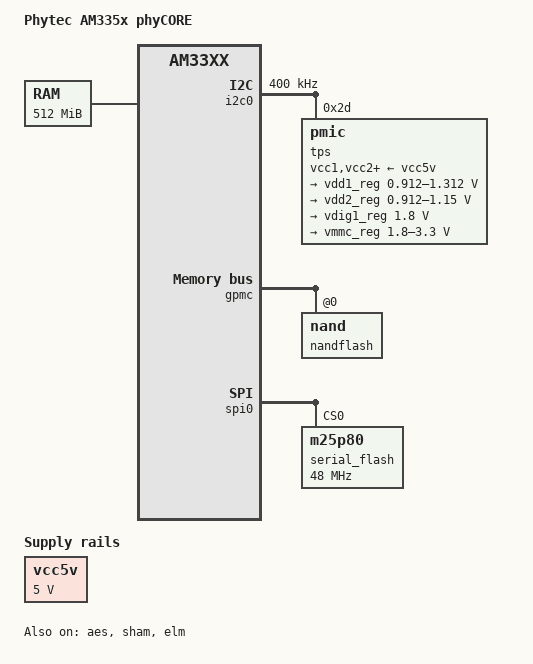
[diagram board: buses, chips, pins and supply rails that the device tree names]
/*
 * Copyright (C) 2014 Teresa Gámez <t.gamez@phytec.de> Phytec Messtechnik GmbH
 *
 * This program is free software; you can redistribute it and/or modify
 * it under the terms of the GNU General Public License version 2 as
 * published by the Free Software Foundation.
 */

#include "am33xx.dtsi"

/ {
	model = "Phytec AM335x phyCORE";
	compatible = "phytec,am335x-phycore-som", "ti,am33xx";

	aliases {
		rtc0 = &i2c_rtc;
		rtc1 = &rtc;
	};

	cpus {
		cpu@0 {
			cpu0-supply = <&vdd1_reg>;
		};
	};

	/* This is a dummy node. Will be set by a bootloader */
	memory {
		device_type = "memory";
		reg = <0x80000000 0x20000000>; /* 512 MB */
	};

	vcc5v: fixedregulator@0 {
		compatible = "regulator-fixed";
	};
};

/* Crypto Module */
&aes {
	status = "okay";
};

&sham {
	status = "okay";
};

/* Ethernet */
&am33xx_pinmux {
	ethernet0_pins: pinmux_ethernet0 {
		pinctrl-single,pins = <
			0x10c (PIN_INPUT_PULLDOWN | MUX_MODE1)	/* mii1_crs.rmii1_crs_dv */
			0x110 (PIN_INPUT_PULLDOWN | MUX_MODE1)	/* mii1_rxerr.rmii1_rxerr */
			0x114 (PIN_OUTPUT | MUX_MODE1)		/* mii1_txen.rmii1_txen */
			0x124 (PIN_OUTPUT | MUX_MODE1)		/* mii1_txd1.rmii1_txd1 */
			0x128 (PIN_OUTPUT | MUX_MODE1)		/* mii1_txd0.rmii1_txd0 */
			0x13c (PIN_INPUT_PULLDOWN | MUX_MODE1)	/* mii1_rxd1.rmii1_rxd1 */
			0x140 (PIN_INPUT_PULLDOWN | MUX_MODE1)	/* mii1_rxd0.rmii1_rxd0 */
			0x144 (PIN_INPUT_PULLDOWN | MUX_MODE0)	/* rmii1_refclk.rmii1_refclk */
		>;
	};

	mdio_pins: pinmux_mdio {
		pinctrl-single,pins = <
			/* MDIO */
			0x148 (PIN_INPUT_PULLUP | SLEWCTRL_FAST | MUX_MODE0)	/* mdio_data.mdio_data */
			0x14c (PIN_OUTPUT_PULLUP | MUX_MODE0)			/* mdio_clk.mdio_clk */
		>;
	};
};

&cpsw_emac0 {
	phy_id = <&davinci_mdio>, <0>;
	phy-mode = "rmii";
	dual_emac_res_vlan = <1>;
	status = "disabled";
};

&cpsw_emac1 {
	status = "disabled";
};

&davinci_mdio {
	pinctrl-names = "default";
	pinctrl-0 = <&mdio_pins>;
	status = "disabled";
};

&mac {
	slaves = <1>;
	pinctrl-names = "default";
	pinctrl-0 = <&ethernet0_pins>;
};

&phy_sel {
	rmii-clock-ext;
};

/* I2C Busses */
&am33xx_pinmux {
	i2c0_pins: pinmux_i2c0 {
		pinctrl-single,pins = <
			0x188 (PIN_INPUT_PULLUP | MUX_MODE0)	/* i2c0_sda.i2c0_sda */
			0x18c (PIN_INPUT_PULLUP | MUX_MODE0)	/* i2c0_scl.i2c0_scl */
		>;
	};
};

&i2c0 {
	pinctrl-names = "default";
	pinctrl-0 = <&i2c0_pins>;
	clock-frequency = <400000>;
	status = "okay";

	tps: pmic@2d {
		reg = <0x2d>;
	};

	i2c_eeprom: eeprom@52 {
		compatible = "at,24c32";
		pagesize = <32>;
		reg = <0x52>;
		status = "disabled";
	};

	i2c_rtc: rtc@68 {
		compatible = "mc,rv4162c7";
		reg = <0x68>;
		status = "disabled";
	};
};

/* NAND memory */
&am33xx_pinmux {
		nandflash_pins: pinmux_nandflash {
			pinctrl-single,pins = <
			0x0 (PIN_INPUT_PULLUP | MUX_MODE0)	/* gpmc_ad0.gpmc_ad0 */
			0x4 (PIN_INPUT_PULLUP | MUX_MODE0)	/* gpmc_ad1.gpmc_ad1 */
			0x8 (PIN_INPUT_PULLUP | MUX_MODE0)	/* gpmc_ad2.gpmc_ad2 */
			0xc (PIN_INPUT_PULLUP | MUX_MODE0)	/* gpmc_ad3.gpmc_ad3 */
			0x10 (PIN_INPUT_PULLUP | MUX_MODE0)	/* gpmc_ad4.gpmc_ad4 */
			0x14 (PIN_INPUT_PULLUP | MUX_MODE0)	/* gpmc_ad5.gpmc_ad5 */
			0x18 (PIN_INPUT_PULLUP | MUX_MODE0)	/* gpmc_ad6.gpmc_ad6 */
			0x1c (PIN_INPUT_PULLUP | MUX_MODE0)	/* gpmc_ad7.gpmc_ad7 */
			0x70 (PIN_INPUT_PULLUP | MUX_MODE0)	/* gpmc_wait0.gpmc_wait0 */
			0x7c (PIN_OUTPUT | MUX_MODE0)		/* gpmc_csn0.gpmc_csn0 */
			0x90 (PIN_OUTPUT | MUX_MODE0)		/* gpmc_advn_ale.gpmc_advn_ale */
			0x94 (PIN_OUTPUT | MUX_MODE0)		/* gpmc_oen_ren.gpmc_oen_ren */
			0x98 (PIN_OUTPUT | MUX_MODE0)		/* gpmc_wen.gpmc_wen */
			0x9c (PIN_OUTPUT | MUX_MODE0)		/* gpmc_be0n_cle.gpmc_be0n_cle */
		>;
	};
};

&elm {
	status = "okay";
};

&gpmc {
	status = "okay";
	pinctrl-names = "default";
	pinctrl-0 = <&nandflash_pins>;
	ranges = <0 0 0x08000000 0x10000000>;   /* CS0: NAND */
	nandflash: nand@0,0 {
		reg = <0 0 0>; /* CS0, offset 0 */
		nand-bus-width = <8>;
		ti,nand-ecc-opt = "bch8";
		gpmc,device-nand = "true";
		gpmc,device-width = <1>;
		gpmc,sync-clk-ps = <0>;
		gpmc,cs-on-ns = <0>;
		gpmc,cs-rd-off-ns = <30>;
		gpmc,cs-wr-off-ns = <30>;
		gpmc,adv-on-ns = <0>;
		gpmc,adv-rd-off-ns = <30>;
		gpmc,adv-wr-off-ns = <30>;
		gpmc,we-on-ns = <0>;
		gpmc,we-off-ns = <20>;
		gpmc,oe-on-ns = <10>;
		gpmc,oe-off-ns = <30>;
		gpmc,access-ns = <30>;
		gpmc,rd-cycle-ns = <30>;
		gpmc,wr-cycle-ns = <30>;
		gpmc,wait-on-read = "true";
		gpmc,wait-on-write = "true";
		gpmc,bus-turnaround-ns = <0>;
		gpmc,cycle2cycle-delay-ns = <50>;
		gpmc,cycle2cycle-diffcsen;
		gpmc,clk-activation-ns = <0>;
		gpmc,wait-monitoring-ns = <0>;
		gpmc,wr-access-ns = <30>;
		gpmc,wr-data-mux-bus-ns = <0>;

		elm_id = <&elm>;

		#address-cells = <1>;
		#size-cells = <1>;
	};
};

/* Power */
#include "tps65910.dtsi"

&tps {
	vcc1-supply = <&vcc5v>;
	vcc2-supply = <&vcc5v>;
	vcc3-supply = <&vcc5v>;
	vcc4-supply = <&vcc5v>;
	vcc5-supply = <&vcc5v>;
	vcc6-supply = <&vcc5v>;
	vcc7-supply = <&vcc5v>;
	vccio-supply = <&vcc5v>;

	regulators {
		vdd1_reg: regulator@2 {
			/* VDD_MPU voltage limits 0.95V - 1.26V with +/-4% tolerance */
			regulator-name = "vdd_mpu";
			regulator-min-microvolt = <912500>;
			regulator-max-microvolt = <1312500>;
			regulator-boot-on;
			regulator-always-on;
		};

		vdd2_reg: regulator@3 {
			/* VDD_CORE voltage limits 0.95V - 1.1V with +/-4% tolerance */
			regulator-name = "vdd_core";
			regulator-min-microvolt = <912500>;
			regulator-max-microvolt = <1150000>;
			regulator-boot-on;
			regulator-always-on;
		};

		vdig1_reg: regulator@5 {
			regulator-name = "vdig1_1p8v";
			regulator-min-microvolt = <1800000>;
			regulator-max-microvolt = <1800000>;
		};

		vmmc_reg: regulator@12 {
			regulator-min-microvolt = <1800000>;
			regulator-max-microvolt = <3300000>;
		};
	};
};

&vcc5v {
	regulator-name = "vcc5v";
	regulator-min-microvolt = <5000000>;
	regulator-max-microvolt = <5000000>;
	regulator-boot-on;
};

/* SPI Busses */
&am33xx_pinmux {
	spi0_pins: pinmux_spi0 {
		pinctrl-single,pins = <
			0x150 (PIN_INPUT_PULLDOWN | MUX_MODE0)	/* spi0_clk.spi0_clk */
			0x154 (PIN_INPUT_PULLDOWN | MUX_MODE0)	/* spi0_d0.spi0_d0 */
			0x158 (PIN_INPUT_PULLUP | MUX_MODE0)	/* spi0_d1.spi0_d1 */
			0x15c (PIN_INPUT_PULLUP | MUX_MODE0)	/* spi0_cs0.spi0_cs0 */
		>;
	};
};

&spi0 {
	pinctrl-names = "default";
	pinctrl-0 = <&spi0_pins>;
	status = "okay";

	serial_flash: m25p80@0 {
		compatible = "m25p80";
		spi-max-frequency = <48000000>;
		reg = <0x0>;
		#address-cells = <1>;
		#size-cells = <1>;
	};
};
